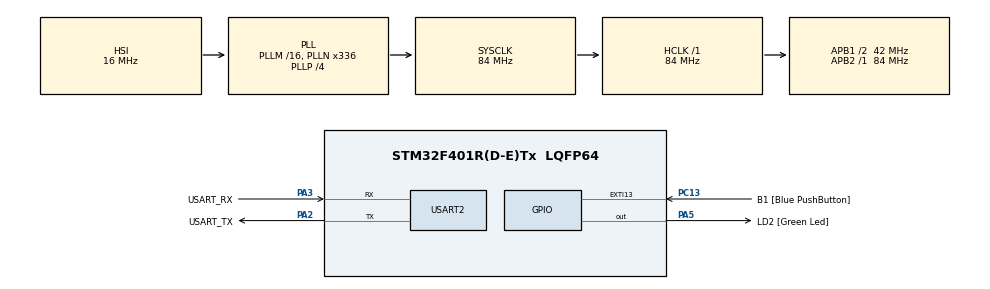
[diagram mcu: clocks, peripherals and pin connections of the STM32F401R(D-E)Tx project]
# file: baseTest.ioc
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Mcu.Family=STM32F4
Mcu.Name=STM32F401R(D-E)Tx
Mcu.Package=LQFP64
NVIC.PriorityGroup=NVIC_PRIORITYGROUP_0
PA13.GPIO_Label=TMS
PA13.Mode=Serial_Wire
PA13.Signal=SYS_JTMS-SWDIO
PA14.GPIO_Label=TCK
PA14.Mode=Serial_Wire
PA14.Signal=SYS_JTCK-SWCLK
PA2.GPIO_Label=USART_TX
PA2.GPIO_Mode=GPIO_MODE_AF_PP
PA2.GPIO_PuPd=GPIO_NOPULL
PA2.GPIO_Speed=GPIO_SPEED_FREQ_LOW
PA2.Mode=Asynchronous
PA2.Signal=USART2_TX
PA3.GPIO_Label=USART_RX
PA3.GPIO_Mode=GPIO_MODE_AF_PP
PA3.GPIO_PuPd=GPIO_NOPULL
PA3.GPIO_Speed=GPIO_SPEED_FREQ_LOW
PA3.Mode=Asynchronous
PA3.Signal=USART2_RX
PA5.GPIO_Label=LD2 [Green Led]
PA5.GPIO_Mode=GPIO_MODE_OUTPUT_PP
PA5.GPIO_PuPd=GPIO_NOPULL
PA5.GPIO_Speed=GPIO_SPEED_FREQ_LOW
PA5.Signal=GPIO_Output
PB3.GPIO_Label=SWO
PB3.Signal=SYS_JTDO-SWO
PC13-ANTI_TAMP.GPIO_Label=B1 [Blue PushButton]
PC13-ANTI_TAMP.GPIO_ModeDefaultEXTI=GPIO_MODE_IT_FALLING
PC13-ANTI_TAMP.GPIO_PuPd=GPIO_NOPULL
PC13-ANTI_TAMP.Signal=GPXTI13
PC14-OSC32_IN.Mode=LSE-External-Oscillator
PC14-OSC32_IN.Signal=RCC_OSC32_IN
PC15-OSC32_OUT.Mode=LSE-External-Oscillator
PC15-OSC32_OUT.Signal=RCC_OSC32_OUT
PH0\ -\ OSC_IN.Mode=HSE-External-Clock-Source
PH0\ -\ OSC_IN.Signal=RCC_OSC_IN
PH1\ -\ OSC_OUT.Mode=HSE-External-Clock-Source
PH1\ -\ OSC_OUT.Signal=RCC_OSC_OUT
ProjectManager.HeapSize=0x200
ProjectManager.StackSize=0x400
ProjectManager.TargetToolchain=Makefile
RCC.48MHZClocksFreq_Value=48000000
RCC.AHBFreq_Value=84000000
RCC.APB1CLKDivider=RCC_HCLK_DIV2
RCC.APB1Freq_Value=42000000
RCC.APB1TimFreq_Value=84000000
RCC.APB2Freq_Value=84000000
RCC.APB2TimFreq_Value=84000000
RCC.CortexFreq_Value=84000000
RCC.HCLKFreq_Value=84000000
RCC.HSE_VALUE=8000000
RCC.HSI_VALUE=16000000
RCC.PLLN=336
RCC.PLLP=RCC_PLLP_DIV4
RCC.PLLQ=7
RCC.SYSCLKFreq_VALUE=84000000
RCC.SYSCLKSource=RCC_SYSCLKSOURCE_PLLCLK
RCC.VCOOutputFreq_Value=336000000
USART2.VirtualMode=VM_ASYNC
board=NUCLEO-F401RE

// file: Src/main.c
/* USER CODE BEGIN Header */
/**
  ******************************************************************************
  * @file           : main.c
  * @brief          : Main program body
  ******************************************************************************
  ** This notice applies to any and all portions of this file
  * that are not between comment pairs USER CODE BEGIN and
  * USER CODE END. Other portions of this file, whether
  * inserted by the user or by software development tools
  * are owned by their respective copyright owners.
  *
  * COPYRIGHT(c) 2019 STMicroelectronics
  *
  * Redistribution and use in source and binary forms, with or without modification,
  * are permitted provided that the following conditions are met:
  *   1. Redistributions of source code must retain the above copyright notice,
  *      this list of conditions and the following disclaimer.
  *   2. Redistributions in binary form must reproduce the above copyright notice,
  *      this list of conditions and the following disclaimer in the documentation
  *      and/or other materials provided with the distribution.
  *   3. Neither the name of STMicroelectronics nor the names of its contributors
  *      may be used to endorse or promote products derived from this software
  *      without specific prior written permission.
  *
  * THIS SOFTWARE IS PROVIDED BY THE COPYRIGHT HOLDERS AND CONTRIBUTORS "AS IS"
  * AND ANY EXPRESS OR IMPLIED WARRANTIES, INCLUDING, BUT NOT LIMITED TO, THE
  * IMPLIED WARRANTIES OF MERCHANTABILITY AND FITNESS FOR A PARTICULAR PURPOSE ARE
  * DISCLAIMED. IN NO EVENT SHALL THE COPYRIGHT HOLDER OR CONTRIBUTORS BE LIABLE
  * FOR ANY DIRECT, INDIRECT, INCIDENTAL, SPECIAL, EXEMPLARY, OR CONSEQUENTIAL
  * DAMAGES (INCLUDING, BUT NOT LIMITED TO, PROCUREMENT OF SUBSTITUTE GOODS OR
  * SERVICES; LOSS OF USE, DATA, OR PROFITS; OR BUSINESS INTERRUPTION) HOWEVER
  * CAUSED AND ON ANY THEORY OF LIABILITY, WHETHER IN CONTRACT, STRICT LIABILITY,
  * OR TORT (INCLUDING NEGLIGENCE OR OTHERWISE) ARISING IN ANY WAY OUT OF THE USE
  * OF THIS SOFTWARE, EVEN IF ADVISED OF THE POSSIBILITY OF SUCH DAMAGE.
  *
  ******************************************************************************
  */
/* USER CODE END Header */

#include "main.h"
#include "usart.h"
#include "gpio.h"

/* USER CODE BEGIN Includes */
#include "UartParser.h"
/* USER CODE END Includes */

void SystemClock_Config(void);

int main(void)
{

  /* MCU Configuration--------------------------------------------------------*/

  /* Reset of all peripherals, Initializes the Flash interface and the Systick. */
  HAL_Init();

  /* Configure the system clock */
  SystemClock_Config();

  /* Initialize all configured peripherals */
  MX_GPIO_Init();
  MX_USART2_UART_Init();

  /* Infinite loop */
  /* USER CODE BEGIN WHILE */
  char buffer[NB_UART]={0};
  int a=0;
  int nbRec = 0;
  initVar(&a,0);
  HAL_GPIO_WritePin(LD2_GPIO_Port,LD2_Pin,0);
  while (1)
  {
    if(HAL_UART_Receive(&huart2,buffer,5,20) == HAL_OK){
      nbRec = parseInit(buffer,5);
      nbRec+=48;
      //HAL_UART_Transmit(&huart2,&nbRec,1,50);
      nbRec-=48;

        if(HAL_UART_Receive(&huart2,buffer,nbRec,200) == HAL_OK){
                    //HAL_GPIO_WritePin(LD2_GPIO_Port,LD2_Pin,1);
                    //HAL_UART_Transmit(&huart2,"a",1,50);
          parseUart(buffer);
        }
    }
    if(a==1){
      HAL_GPIO_WritePin(LD2_GPIO_Port,LD2_Pin,1);
    }
    else{
      HAL_GPIO_WritePin(LD2_GPIO_Port,LD2_Pin,0);
    }
    //HAL_Delay(500);
    /* USER CODE END WHILE */

  }
}

void SystemClock_Config(void)
{
  RCC_OscInitTypeDef RCC_OscInitStruct = {0};
  RCC_ClkInitTypeDef RCC_ClkInitStruct = {0};

  /**Configure the main internal regulator output voltage
  */
  __HAL_RCC_PWR_CLK_ENABLE();
  __HAL_PWR_VOLTAGESCALING_CONFIG(PWR_REGULATOR_VOLTAGE_SCALE2);
  /**Initializes the CPU, AHB and APB busses clocks
  */
  RCC_OscInitStruct.OscillatorType = RCC_OSCILLATORTYPE_HSI;
  RCC_OscInitStruct.HSIState = RCC_HSI_ON;
  RCC_OscInitStruct.HSICalibrationValue = RCC_HSICALIBRATION_DEFAULT;
  RCC_OscInitStruct.PLL.PLLState = RCC_PLL_ON;
  RCC_OscInitStruct.PLL.PLLSource = RCC_PLLSOURCE_HSI;
  RCC_OscInitStruct.PLL.PLLM = 16;
  RCC_OscInitStruct.PLL.PLLN = 336;
  RCC_OscInitStruct.PLL.PLLP = RCC_PLLP_DIV4;
  RCC_OscInitStruct.PLL.PLLQ = 7;
  if (HAL_RCC_OscConfig(&RCC_OscInitStruct) != HAL_OK)
  {
    Error_Handler();
  }
  /**Initializes the CPU, AHB and APB busses clocks
  */
  RCC_ClkInitStruct.ClockType = RCC_CLOCKTYPE_HCLK|RCC_CLOCKTYPE_SYSCLK
                              |RCC_CLOCKTYPE_PCLK1|RCC_CLOCKTYPE_PCLK2;
  RCC_ClkInitStruct.SYSCLKSource = RCC_SYSCLKSOURCE_PLLCLK;
  RCC_ClkInitStruct.AHBCLKDivider = RCC_SYSCLK_DIV1;
  RCC_ClkInitStruct.APB1CLKDivider = RCC_HCLK_DIV2;
  RCC_ClkInitStruct.APB2CLKDivider = RCC_HCLK_DIV1;

  if (HAL_RCC_ClockConfig(&RCC_ClkInitStruct, FLASH_LATENCY_2) != HAL_OK)
  {
    Error_Handler();
  }
}

void Error_Handler(void)
{
}

/************************ (C) COPYRIGHT STMicroelectronics *****END OF FILE****/
